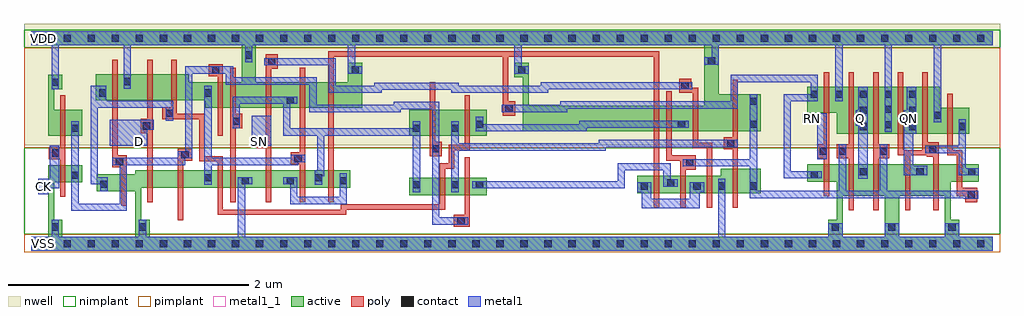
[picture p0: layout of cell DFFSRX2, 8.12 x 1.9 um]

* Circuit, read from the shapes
.subckt DFFSRX2 CK D Q QN RN SN VDD VSS
M1 n1 CK VSS VSS nfet w=0.145u l=0.045u
M2 VSS n1 n2 VSS nfet w=0.145u l=0.045u
M3 n3 D VSS VSS nfet w=0.145u l=0.045u
M4 n4 n1 n3 VSS nfet w=0.145u l=0.045u
M5 n5 n2 n4 VSS nfet w=0.145u l=0.045u
M6 VSS n6 n5 VSS nfet w=0.145u l=0.045u
M7 n7 SN VSS VSS nfet w=0.145u l=0.045u
M8 n6 n4 n7 VSS nfet w=0.145u l=0.045u
M9 n7 n8 n6 VSS nfet w=0.145u l=0.045u
M10 n9 n2 n6 VSS nfet w=0.145u l=0.045u
M11 n10 n1 n9 VSS nfet w=0.145u l=0.045u
M12 n10 n8 n11 VSS nfet w=0.145u l=0.045u
M13 n11 n12 n10 VSS nfet w=0.145u l=0.045u
M14 VSS SN n11 VSS nfet w=0.145u l=0.045u
M15 n12 n9 VSS VSS nfet w=0.205u l=0.045u
M16 VSS RN n8 VSS nfet w=0.145u l=0.045u
M17 Q n12 VSS VSS nfet w=0.26u l=0.045u m=2
M18 QN n13 VSS VSS nfet w=0.26u l=0.045u m=2
M19 n13 n12 VSS VSS nfet w=0.145u l=0.045u
M20 n1 CK VDD VDD pfet w=0.215u l=0.045u
M21 VDD n1 n2 VDD pfet w=0.215u l=0.045u
M22 n14 D VDD VDD pfet w=0.215u l=0.045u
M23 n4 n2 n14 VDD pfet w=0.215u l=0.045u
M24 n15 n1 n4 VDD pfet w=0.215u l=0.045u
M25 VDD n6 n15 VDD pfet w=0.215u l=0.045u
M26 n6 SN VDD VDD pfet w=0.215u l=0.045u
M27 n16 n4 n6 VDD pfet w=0.215u l=0.045u
M28 VDD n8 n16 VDD pfet w=0.215u l=0.045u
M29 n9 n1 n6 VDD pfet w=0.215u l=0.045u
M30 n17 n2 n9 VDD pfet w=0.215u l=0.045u
M31 n18 n8 VDD VDD pfet w=0.215u l=0.045u
M32 n17 n12 n18 VDD pfet w=0.215u l=0.045u
M33 VDD SN n17 VDD pfet w=0.215u l=0.045u
M34 n12 n9 VDD VDD pfet w=0.31u l=0.045u
M35 VDD RN n8 VDD pfet w=0.215u l=0.045u
M36 Q n12 VDD VDD pfet w=0.39u l=0.045u m=2
M37 QN n13 VDD VDD pfet w=0.39u l=0.045u m=2
M38 n13 n12 VDD VDD pfet w=0.215u l=0.045u
.ends

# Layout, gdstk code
import gdstk
lib = gdstk.Library(unit=1e-6, precision=5e-10)
def R(c, l, rs):  # rectangles x0, y0, x1, y1
    for r in rs: c.add(gdstk.rectangle(r[:2], r[2:], *l))
def A(c, l, x, y, w, h, nx, ny, dx, dy):  # array of equal rectangles
    R(c, l, [(x+i*dx, y+j*dy, x+i*dx+w, y+j*dy+h) for i in range(nx) for j in range(ny)])
def P(c, l, *ps):  # polygons
    for p in ps: c.add(gdstk.Polygon(p, *l))
active = (1, 0)
nwell = (2, 0)
poly = (3, 0)
nimplant = (4, 0)
pimplant = (5, 0)
contact = (6, 0)
metal1 = (7, 0)
metal1_1 = (7, 1)

dffsrx2 = lib.new_cell('DFFSRX2')
R(dffsrx2, active, [(3.145,0.405,3.79,0.55), (3.145,0.9,3.79,1.115)])
P(dffsrx2, active, [(0,1.77),(8,1.77),(8,1.65),(5.72,1.65),(5.72,1.245),(6.07,1.245),(6.07,0.935),(4.09,0.935),(4.09,1.385),(4.02,1.385),(4.02,1.505),(4.14,1.505),(4.14,1.15),(5.6,1.15),(5.6,1.65),(1.87,1.65),(1.87,1.345),(2.635,1.345),(2.635,1.505),(2.755,1.505),(2.755,1.13),(1.45,1.13),(1.45,1.195),(0.535,1.195),(0.535,1.41),(1.31,1.41),(1.31,1.345),(1.75,1.345),(1.75,1.65),(0,1.65)],
  [(0.14,1.405),(0.26,1.405),(0.26,1.285),(0.19,1.285),(0.19,1.115),(0.425,1.115),(0.425,0.9),(0.14,0.9)],
  [(6.455,1.305),(7.56,1.305),(7.56,1.13),(7.805,1.13),(7.805,0.915),(6.7,0.915),(6.7,1.09),(6.455,1.09)],
  [(0.14,0.655),(0.425,0.655),(0.425,0.51),(0.19,0.51),(0.19,0.2),(0.26,0.2),(0.26,0.06),(0.865,0.06),(0.865,0.435),(0.545,0.435),(0.545,0.58),(0.865,0.58),(0.865,0.61),(2.655,0.61),(2.655,0.465),(0.915,0.465),(0.915,0.2),(0.985,0.2),(0.985,0.06),(6.63,0.06),(6.63,0.2),(6.7,0.2),(6.7,0.4),(6.75,0.4),(6.75,0.06),(7.1,0.06),(7.1,0.4),(7.22,0.4),(7.22,0.06),(7.6,0.06),(7.6,0.4),(6.7,0.4),(6.7,0.515),(6.455,0.515),(6.455,0.66),(7.885,0.66),(7.885,0.515),(7.65,0.515),(7.65,0.2),(7.72,0.2),(7.72,0.06),(8,0.06),(8,-0.06),(0,-0.06),(0,0.06),(0.14,0.06)],
  [(5.735,0.625),(6.07,0.625),(6.07,0.42),(5.04,0.42),(5.04,0.565),(5.735,0.565)])
R(dffsrx2, nwell, [(-0.06,0.82,8.06,1.83)])
P(dffsrx2, poly, [(0.675,1.53),(0.72,1.53),(0.72,0.735),(0.795,0.735),(0.795,0.315),(0.75,0.315),(0.75,0.635),(0.675,0.635)],
  [(0.24,1.235),(0.285,1.235),(0.285,0.39),(0.24,0.39),(0.24,0.705),(0.145,0.705),(0.145,0.805),(0.24,0.805)],
  [(0.965,1.53),(1.01,1.53),(1.01,0.345),(0.965,0.345),(0.965,0.92),(0.91,0.92),(0.91,1.04),(0.965,1.04)],
  [(1.165,1.53),(1.21,1.53),(1.21,1.08),(1.445,1.08),(1.445,0.73),(1.595,0.73),(1.595,0.285),(2.575,0.285),(2.575,0.33),(3.4,0.33),(3.4,0.67),(3.475,0.67),(3.475,0.825),(3.605,0.825),(3.605,1.235),(3.65,1.235),(3.65,0.78),(3.52,0.78),(3.52,0.625),(3.445,0.625),(3.445,0.285),(2.62,0.285),(2.62,0.24),(1.55,0.24),(1.55,0.685),(1.4,0.685),(1.4,1.035),(1.09,1.035),(1.09,1.135),(1.165,1.135)],
  [(1.475,1.495),(1.595,1.495),(1.595,0.9),(1.55,0.9),(1.55,1.395),(1.475,1.395)],
  [(1.655,1.465),(1.7,1.465),(1.7,1.08),(1.755,1.08),(1.755,0.96),(1.7,0.96),(1.7,0.345),(1.655,0.345)],
  [(1.95,1.575),(2.05,1.575),(2.05,1.455),(1.995,1.455),(1.995,0.345),(1.95,0.345),(1.95,0.795),(1.875,0.795),(1.875,0.895),(1.95,0.895)],
  [(2.47,1.6),(5.225,1.6),(5.225,0.3),(5.18,0.3),(5.18,1.555),(3.97,1.555),(3.97,1.185),(4.025,1.185),(4.025,1.065),(3.925,1.065),(3.925,1.555),(2.515,1.555),(2.515,0.345),(2.47,0.345)],
  [(2.235,1.465),(2.28,1.465),(2.28,0.345),(2.235,0.345),(2.235,0.66),(2.16,0.66),(2.16,0.76),(2.235,0.76)],
  [(3.315,1.345),(3.36,1.345),(3.36,0.85),(3.415,0.85),(3.415,0.73),(3.315,0.73)],
  [(5.39,1.375),(5.49,1.375),(5.49,1.3),(5.55,1.3),(5.55,0.84),(5.665,0.84),(5.665,0.3),(5.62,0.3),(5.62,0.795),(5.505,0.795),(5.505,1.255),(5.39,1.255)],
  [(5.285,1.27),(5.33,1.27),(5.33,0.735),(5.53,0.735),(5.53,0.615),(5.445,0.615),(5.445,0.3),(5.4,0.3),(5.4,0.69),(5.285,0.69)],
  [(5.835,1.365),(5.88,1.365),(5.88,0.3),(5.835,0.3),(5.835,0.785),(5.76,0.785),(5.76,0.885),(5.835,0.885)],
  [(6.595,1.425),(6.64,1.425),(6.64,0.395),(6.595,0.395),(6.595,0.71),(6.54,0.71),(6.54,0.83),(6.595,0.83)],
  [(6.8,1.425),(6.845,1.425),(6.845,0.28),(6.8,0.28),(6.8,0.71),(6.7,0.71),(6.7,0.83),(6.8,0.83)],
  [(7.005,1.425),(7.05,1.425),(7.05,0.83),(7.14,0.83),(7.14,0.71),(7.05,0.71),(7.05,0.28),(7.005,0.28)],
  [(7.21,1.425),(7.255,1.425),(7.255,0.78),(7.415,0.78),(7.415,1.425),(7.46,1.425),(7.46,0.845),(7.55,0.845),(7.55,0.28),(7.505,0.28),(7.505,0.725),(7.45,0.725),(7.45,0.735),(7.315,0.735),(7.315,0.28),(7.27,0.28),(7.27,0.735),(7.21,0.735)],
  [(7.62,1.25),(7.665,1.25),(7.665,0.78),(7.745,0.78),(7.745,0.465),(7.87,0.465),(7.87,0.345),(7.77,0.345),(7.77,0.395),(7.7,0.395),(7.7,0.735),(7.62,0.735)],
  [(1.22,0.79),(1.34,0.79),(1.34,0.69),(1.265,0.69),(1.265,0.195),(1.22,0.195)],
  [(3.605,0.72),(3.65,0.72),(3.65,0.14),(3.515,0.14),(3.515,0.24),(3.605,0.24)])
R(dffsrx2, nimplant, [(-0.06,0.08,8.06,0.8), (-0.06,1.63,8.06,1.78)])
R(dffsrx2, pimplant, [(-0.06,-0.07,8.06,0.08), (-0.06,0.8,8.06,1.63)])
A(dffsrx2, contact, 0.07, -0.03, 0.06, 0.06, 40, 2, 0.2, 1.71)
A(dffsrx2, contact, 6.895, 0.945, 0.06, 0.06, 3, 1, 0.41, 0)
A(dffsrx2, contact, 6.485, 1.215, 0.06, 0.06, 5, 1, 0.205, 0)
R(dffsrx2, contact, [(0.17,0.11,0.23,0.17), (0.895,0.11,0.955,0.17), (6.66,0.11,6.72,0.17), (7.13,0.11,7.19,0.17), (7.63,0.11,7.69,0.17), (3.545,0.16,3.605,0.22), (7.79,0.375,7.85,0.435), (5.07,0.45,5.13,0.51), (5.51,0.45,5.57,0.51), (5.715,0.45,5.775,0.51), (5.98,0.45,6.04,0.51), (3.175,0.46,3.235,0.52), (3.495,0.46,3.555,0.52), (3.7,0.46,3.76,0.52), (0.575,0.465,0.635,0.525), (5.29,0.475,5.35,0.535), (1.75,0.495,1.81,0.555), (2.125,0.495,2.185,0.555), (2.565,0.495,2.625,0.555), (1.44,0.52,1.5,0.58), (2.36,0.52,2.42,0.58), (0.335,0.54,0.395,0.6), (6.485,0.545,6.545,0.605), (6.895,0.57,6.955,0.63), (7.365,0.57,7.425,0.63), (7.795,0.57,7.855,0.63), (5.45,0.645,5.51,0.705), (0.705,0.655,0.765,0.715), (2.19,0.68,2.25,0.74), (1.25,0.71,1.31,0.77), (0.175,0.725,0.235,0.785), (6.56,0.74,6.62,0.8), (6.72,0.74,6.78,0.8), (7.06,0.74,7.12,0.8), (7.47,0.755,7.53,0.815), (3.335,0.76,3.395,0.82), (5.79,0.805,5.85,0.865), (1.905,0.815,1.965,0.875), (0.335,0.93,0.395,0.99), (3.175,0.93,3.235,0.99), (3.495,0.93,3.555,0.99), (0.93,0.95,0.99,1.01), (7.1,0.96,7.16,1.02), (3.7,0.965,3.76,1.025), (5.38,0.965,5.44,1.025), (5.98,0.965,6.04,1.025), (1.675,0.99,1.735,1.05), (7.51,1.04,7.57,1.1), (1.12,1.055,1.18,1.115), (6.895,1.08,6.955,1.14), (7.305,1.08,7.365,1.14), (7.1,1.09,7.16,1.15), (3.945,1.095,4.005,1.155), (5.98,1.155,6.04,1.215), (2.125,1.165,2.185,1.225), (0.565,1.225,0.625,1.285), (1.44,1.225,1.5,1.285), (5.41,1.285,5.47,1.345), (0.17,1.315,0.23,1.375), (0.77,1.32,0.83,1.38), (1.505,1.415,1.565,1.475), (2.665,1.415,2.725,1.475), (4.05,1.415,4.11,1.475), (1.97,1.485,2.03,1.545), (5.63,1.49,5.69,1.55), (1.78,1.54,1.84,1.6)])
R(dffsrx2, metal1, [(1.835,0.815,1.995,1.065)])
P(dffsrx2, metal1, [(0,1.77),(8,1.77),(8,1.65),(7.57,1.65),(7.57,1.01),(7.51,1.01),(7.51,1.65),(7.16,1.65),(7.16,0.93),(7.1,0.93),(7.1,1.65),(6.75,1.65),(6.75,1.185),(6.69,1.185),(6.69,1.65),(5.72,1.65),(5.72,1.49),(5.6,1.49),(5.6,1.55),(5.66,1.55),(5.66,1.65),(4.08,1.65),(4.08,1.475),(4.14,1.475),(4.14,1.415),(4.02,1.415),(4.02,1.65),(2.695,1.65),(2.695,1.475),(2.755,1.475),(2.755,1.415),(2.635,1.415),(2.635,1.65),(1.84,1.65),(1.84,1.51),(1.78,1.51),(1.78,1.65),(0.83,1.65),(0.83,1.29),(0.77,1.29),(0.77,1.65),(0.23,1.65),(0.23,1.285),(0.17,1.285),(0.17,1.65),(0,1.65)],
  [(0.495,1.315),(0.625,1.315),(0.625,1.19),(1.18,1.19),(1.18,1.025),(1.12,1.025),(1.12,1.13),(0.555,1.13),(0.555,0.555),(0.635,0.555),(0.635,0.435),(0.575,0.435),(0.575,0.495),(0.495,0.495)],
  [(1.28,1.475),(1.68,1.475),(1.68,1.385),(2.375,1.385),(2.375,1.155),(3.015,1.155),(3.015,1.18),(3.395,1.18),(3.395,0.22),(3.635,0.22),(3.635,0.16),(3.335,0.16),(3.335,1.12),(3.075,1.12),(3.075,1.095),(2.315,1.095),(2.315,1.325),(1.62,1.325),(1.62,1.415),(1.34,1.415),(1.34,0.71),(1.28,0.71),(1.28,0.655),(0.795,0.655),(0.795,0.275),(0.335,0.275),(0.335,1.02),(0.395,1.02),(0.395,0.335),(0.735,0.335),(0.735,0.655),(0.675,0.655),(0.675,0.715),(1.22,0.715),(1.22,0.77),(1.28,0.77)],
  [(1.94,1.545),(2.535,1.545),(2.535,1.315),(2.855,1.315),(2.855,1.34),(3.555,1.34),(3.555,1.315),(4.24,1.315),(4.24,1.345),(5.5,1.345),(5.5,1.285),(4.3,1.285),(4.3,1.255),(3.495,1.255),(3.495,1.28),(2.915,1.28),(2.915,1.255),(2.475,1.255),(2.475,1.485),(1.94,1.485)],
  [(0.155,0.815),(0.235,0.815),(0.235,0.46),(0.14,0.46),(0.14,0.41),(0.06,0.41),(0.06,0.54),(0.155,0.54)],
  [(0.655,1.03),(1.02,1.03),(1.02,0.95),(0.965,0.95),(0.965,0.815),(0.655,0.815)],
  [(1.44,1.315),(1.5,1.315),(1.5,0.715),(2.16,0.715),(2.16,0.74),(2.28,0.74),(2.28,0.68),(2.22,0.68),(2.22,0.655),(1.5,0.655),(1.5,0.49),(1.44,0.49)],
  [(1.675,1.225),(2.215,1.225),(2.215,1.165),(2.155,1.165),(2.155,0.96),(3.175,0.96),(3.175,1.02),(3.235,1.02),(3.235,0.43),(3.175,0.43),(3.175,0.9),(2.44,0.9),(2.44,0.56),(2.42,0.56),(2.42,0.49),(2.36,0.49),(2.36,0.61),(2.38,0.61),(2.38,0.9),(2.095,0.9),(2.095,1.165),(1.735,1.165),(1.735,0.96),(1.675,0.96)],
  [(5.82,1.405),(6.545,1.405),(6.545,1.185),(6.32,1.185),(6.32,0.605),(6.575,0.605),(6.575,0.545),(6.26,0.545),(6.26,1.245),(6.485,1.245),(6.485,1.345),(5.88,1.345),(5.88,1.125),(4.46,1.125),(4.46,1.095),(3.915,1.095),(3.915,1.155),(4.4,1.155),(4.4,1.185),(5.82,1.185)],
  [(3.495,1.02),(3.555,1.02),(3.555,0.835),(4.72,0.835),(4.72,0.865),(5.88,0.865),(5.88,0.805),(4.78,0.805),(4.78,0.775),(3.555,0.775),(3.555,0.43),(3.495,0.43)],
  [(3.7,1.055),(3.76,1.055),(3.76,0.995),(4.56,0.995),(4.56,1.025),(5.47,1.025),(5.47,0.965),(4.62,0.965),(4.62,0.935),(3.7,0.935)],
  [(1.72,0.555),(1.84,0.555),(1.84,0.495),(1.78,0.495),(1.78,0.06),(5.715,0.06),(5.715,0.54),(5.775,0.54),(5.775,0.06),(6.63,0.06),(6.63,0.17),(6.75,0.17),(6.75,0.06),(7.1,0.06),(7.1,0.17),(7.22,0.17),(7.22,0.06),(7.6,0.06),(7.6,0.17),(7.72,0.17),(7.72,0.06),(8,0.06),(8,-0.06),(0,-0.06),(0,0.06),(0.17,0.06),(0.17,0.2),(0.23,0.2),(0.23,0.06),(0.895,0.06),(0.895,0.2),(0.955,0.2),(0.955,0.06),(1.72,0.06)],
  [(2.095,0.555),(2.215,0.555),(2.215,0.39),(2.565,0.39),(2.565,0.585),(2.625,0.585),(2.625,0.33),(2.155,0.33),(2.155,0.495),(2.095,0.495)],
  [(5.98,1.245),(6.04,1.245),(6.04,0.44),(6.72,0.44),(6.72,0.83),(6.78,0.83),(6.78,0.44),(7.06,0.44),(7.06,0.83),(7.12,0.83),(7.12,0.44),(7.88,0.44),(7.88,0.375),(7.76,0.375),(7.76,0.38),(5.98,0.38),(5.98,0.645),(5.42,0.645),(5.42,0.705),(5.98,0.705)],
  [(6.88,1.305),(6.96,1.305),(6.96,0.54),(6.88,0.54),(6.88,0.98),(6.86,0.98),(6.86,1.11),(6.88,1.11)],
  [(4.88,0.67),(5.32,0.67),(5.32,0.535),(5.38,0.535),(5.38,0.475),(5.26,0.475),(5.26,0.61),(4.94,0.61),(4.94,0.46),(3.67,0.46),(3.67,0.52),(4.88,0.52)],
  [(5.04,0.51),(5.16,0.51),(5.16,0.375),(5.48,0.375),(5.48,0.51),(5.6,0.51),(5.6,0.43),(5.56,0.43),(5.56,0.295),(5.08,0.295),(5.08,0.43),(5.04,0.43)],
  [(7.285,1.305),(7.365,1.305),(7.365,0.915),(7.34,0.915),(7.34,0.65),(7.455,0.65),(7.455,0.57),(7.26,0.57),(7.26,1.11),(7.285,1.11)],
  [(7.715,1.035),(7.775,1.035),(7.775,0.63),(7.885,0.63),(7.885,0.57),(7.715,0.57),(7.715,0.755),(7.44,0.755),(7.44,0.815),(7.715,0.815)],
  [(6.42,1.085),(6.62,1.085),(6.62,0.705),(6.54,0.705),(6.54,1.005),(6.42,1.005)])
A(dffsrx2, metal1_1, 6.46, 1.005, 0.08, 0.08, 3, 1, 0.4, 0)
R(dffsrx2, metal1_1, [(0.06,-0.04,0.14,0.04), (0.06,0.435,0.14,0.515), (0.86,0.815,0.94,0.895), (1.86,0.815,1.94,0.895), (0.06,1.67,0.14,1.75)])
dffsrx2.add(gdstk.Label('QN', (7.3,1.045), layer=7, texttype=1))
dffsrx2.add(gdstk.Label('Q', (6.9,1.045), layer=7, texttype=1))
dffsrx2.add(gdstk.Label('RN', (6.5,1.045), layer=7, texttype=1))
dffsrx2.add(gdstk.Label('SN', (1.9,0.855), layer=7, texttype=1))
dffsrx2.add(gdstk.Label('D', (0.9,0.855), layer=7, texttype=1))
dffsrx2.add(gdstk.Label('CK', (0.1,0.475), layer=7, texttype=1))
dffsrx2.add(gdstk.Label('VDD', (0.1,1.71), layer=7, texttype=1))
dffsrx2.add(gdstk.Label('VSS', (0.1,0), layer=7, texttype=1))
dffsrx2.add(gdstk.Label('DFFSRX2', (0,0), layer=63, texttype=0))

lib.write_gds('DFFSRX2.gds')
